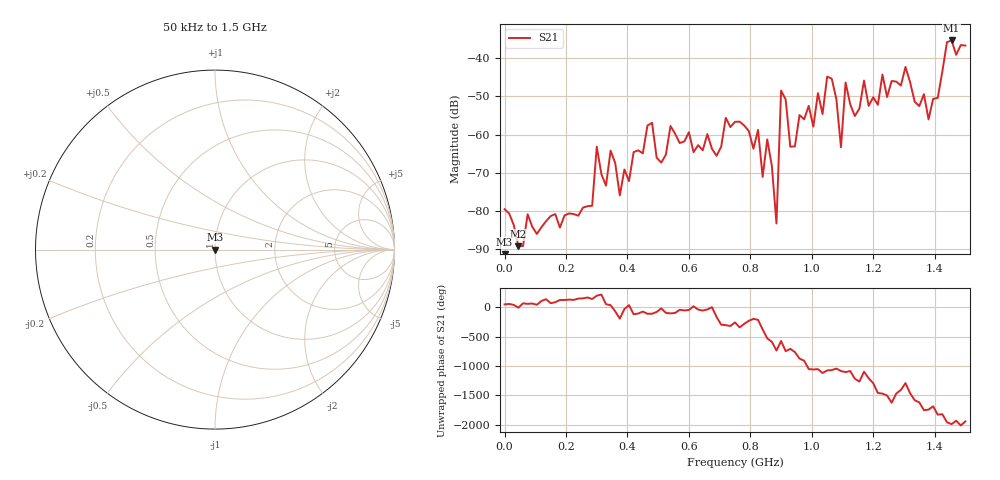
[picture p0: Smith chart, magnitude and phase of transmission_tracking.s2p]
! Created with skrf 1.8.0 (http://scikit-rf.org).
# Hz S RI R 50.0
!freq ReS11 ImS11 ReS21 ImS21 ReS12 ImS12 ReS22 ImS22
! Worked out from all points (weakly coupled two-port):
!   101 points, 50 kHz to 1.5 GHz, reference 50 ohm
!   highest |S21| = -35.35 dB at 1.455 GHz (marker M1); lowest = -89.2 dB at 45.05 MHz (marker M2)
!   lowest |S11| = - dB at 50 kHz (marker M3), VSWR 1.00, Z = 50 + j0 ohm
!   |S11| at or under -10 dB: start of sweep to end of sweep
!   S12 and S22 are empty: the file has one direction only
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50000  0 0  6.8e-05 8.13e-05  0 0  0 0
4.50485e7  0 0  3.46e-05 -3.22e-06  0 0  0 0
2.550415e8  0 0  -9.9e-05 4.98e-05  0 0  0 0
2.850405e8  0 0  -9.28e-05 7.19e-05  0 0  0 0
3.0004e8  0 0  -0.000661 -0.000219  0 0  0 0
3.750375e8  0 0  -0.000156 3.63e-05  0 0  0 0
4.650345e8  0 0  -0.000447 -0.00124  0 0  0 0
5.10033e8  0 0  0.000411 -0.000128  0 0  0 0
7.50025e8  0 0  -0.000335 0.00143  0 0  0 0
8.40022e8  0 0  0.000268 -8.13e-05  0 0  0 0
8.550215e8  0 0  -0.000853 -0.000151  0 0  0 0
8.850205e8  0 0  6.56e-05 -2.08e-05  0 0  0 0
9.0002e8  0 0  -0.00312 0.00213  0 0  0 0
9.30019e8  0 0  0.000682 0.000133  0 0  0 0
1.005016e9  0 0  0.0012 0.000424  0 0  0 0
1.050015e9  0 0  0.00574 0.000323  0 0  0 0
1.095014e9  0 0  0.000679 -8.64e-05  0 0  0 0
1.110013e9  0 0  0.00436 -0.00206  0 0  0 0
1.260008e9  0 0  -0.00498 0.000723  0 0  0 0
1.380004e9  0 0  0.000935 0.00128  0 0  0 0
1.455002e9  0 0  -0.0166 0.00413  0 0  0 0
1.5e9  0 0  -0.0122 -0.00811  0 0  0 0
